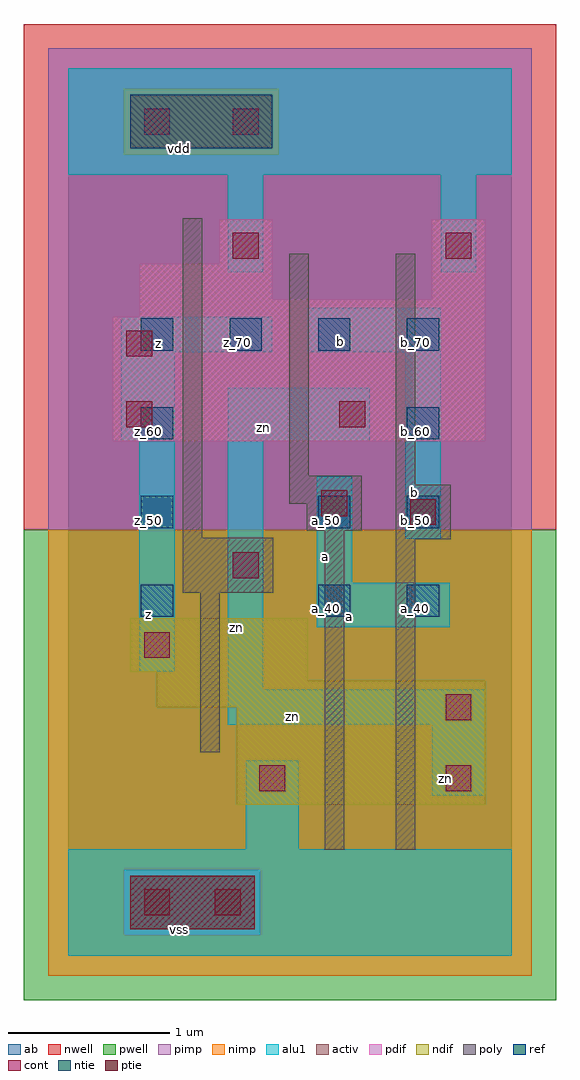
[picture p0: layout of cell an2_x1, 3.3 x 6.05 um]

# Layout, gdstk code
import gdstk
lib = gdstk.Library(unit=1e-6, precision=2.5e-09)
def R(c, l, rs):  # rectangles x0, y0, x1, y1
    for r in rs: c.add(gdstk.rectangle(r[:2], r[2:], *l))
def A(c, l, x, y, w, h, nx, ny, dx, dy):  # array of equal rectangles
    R(c, l, [(x+i*dx, y+j*dy, x+i*dx+w, y+j*dy+h) for i in range(nx) for j in range(ny)])
ndif = (3, 0)
pdif = (4, 0)
ntie = (5, 0)
ptie = (6, 0)
ref = (24, 0)
cont = (25, 0)
pwell = (41, 0)
nwell = (42, 0)
activ = (43, 0)
pimp = (44, 0)
nimp = (45, 0)
poly = (46, 0)
alu1 = (49, 0)
ab = (63, 0)

an2_x1 = lib.new_cell('an2_x1')
R(an2_x1, ndif, [(1.045,0.935,2.585,1.54), (0.55,1.54,2.585,1.705), (0.55,1.705,1.485,1.76), (0.385,1.76,1.485,2.09)])
R(an2_x1, pdif, [(0.275,3.19,2.585,3.96), (0.44,3.96,2.585,4.07), (0.44,4.07,1.265,4.29), (2.255,4.07,2.585,4.565), (0.935,4.29,1.265,4.565)])
R(an2_x1, ntie, [(0.385,5.005,1.265,5.335)])
R(an2_x1, ptie, [(0.385,0.165,1.155,0.495)])
A(an2_x1, ref, 0.45, 2.1, 0.2, 0.2, 1, 3, 0, 0.55)
A(an2_x1, ref, 2.1, 2.1, 0.2, 0.2, 1, 3, 0, 0.55)
A(an2_x1, ref, 0.45, 3.75, 0.2, 0.2, 4, 1, 0.55, 0)
R(an2_x1, ref, [(1.55,2.1,1.75,2.3), (1.55,2.65,1.75,2.85)])
R(an2_x1, cont, [(0.47,0.25,0.63,0.41), (0.91,0.25,1.07,0.41), (1.185,1.02,1.345,1.18), (2.34,1.02,2.5,1.18), (2.34,1.46,2.5,1.62), (0.47,1.845,0.63,2.005), (1.02,2.34,1.18,2.5), (2.12,2.67,2.28,2.83), (1.57,2.725,1.73,2.885), (0.36,3.275,0.52,3.435), (1.68,3.275,1.84,3.435), (0.36,3.715,0.52,3.875), (1.02,4.32,1.18,4.48), (2.34,4.32,2.5,4.48), (0.47,5.09,0.63,5.25), (1.02,5.09,1.18,5.25)])
R(an2_x1, pwell, [(-0.275,-0.275,3.025,2.64)])
R(an2_x1, nwell, [(-0.275,2.64,3.025,5.775)])
R(an2_x1, activ, [(0.385,0.165,1.155,0.495), (1.045,0.935,2.585,1.54), (0.55,1.54,2.585,1.705), (0.55,1.705,1.485,1.76), (0.385,1.76,1.485,2.09), (0.275,3.19,2.585,3.96), (0.44,3.96,2.585,4.07), (0.44,4.07,1.265,4.29), (2.255,4.07,2.585,4.565), (0.935,4.29,1.265,4.565), (0.385,5.005,1.265,5.335)])
R(an2_x1, pimp, [(0.345,0.125,1.195,0.535), (-0.125,2.64,2.875,4.965), (-0.125,4.965,0.345,5.375), (1.305,4.965,2.875,5.375), (-0.125,5.375,2.875,5.625)])
R(an2_x1, nimp, [(-0.125,-0.125,2.875,0.125), (-0.125,0.125,0.345,0.535), (1.195,0.125,2.875,0.535), (-0.125,0.535,2.875,2.64), (0.345,4.965,1.305,5.375)])
R(an2_x1, poly, [(1.59,0.655,1.71,2.635), (2.03,0.655,2.15,2.58), (0.82,1.26,0.94,2.25), (0.71,2.25,1.27,2.59), (2.03,2.58,2.37,2.92), (0.71,2.59,0.83,4.57), (1.48,2.635,1.82,2.8), (1.37,2.8,1.82,2.975), (2.03,2.92,2.15,4.35), (1.37,2.975,1.49,4.35)])
R(an2_x1, alu1, [(0,0,2.75,0.66), (1.1,0.66,1.43,1.21), (2.255,0.99,2.585,1.43), (0.99,1.43,2.585,1.65), (0.99,1.65,1.21,3.19), (0.44,1.76,0.66,3.19), (1.54,2.035,2.365,2.31), (1.54,2.31,1.76,2.97), (2.09,2.585,2.31,3.74), (0.33,3.19,0.66,3.74), (0.99,3.19,1.87,3.52), (0.33,3.74,1.265,3.96), (1.485,3.74,2.31,4.015), (0.99,4.235,1.21,4.84), (2.31,4.235,2.53,4.84), (0,4.84,2.75,5.5)])
R(an2_x1, ab, [(0,0,2.75,5.5)])
an2_x1.add(gdstk.Label('vss', (0.6875,0.165), layer=49, texttype=0))
an2_x1.add(gdstk.Label('zn', (2.3375,1.1), layer=49, texttype=0))
an2_x1.add(gdstk.Label('zn', (1.3875,1.485), layer=49, texttype=0))
an2_x1.add(gdstk.Label('a', (1.745,2.1025), layer=49, texttype=0))
an2_x1.add(gdstk.Label('b', (2.145,2.8725), layer=49, texttype=0))
an2_x1.add(gdstk.Label('a', (1.595,2.475), layer=49, texttype=0))
an2_x1.add(gdstk.Label('zn', (1.045,2.035), layer=49, texttype=0))
an2_x1.add(gdstk.Label('zn', (1.21,3.2725), layer=49, texttype=0))
an2_x1.add(gdstk.Label('z', (0.495,2.1175), layer=49, texttype=0))
an2_x1.add(gdstk.Label('b', (1.69,3.8075), layer=49, texttype=0))
an2_x1.add(gdstk.Label('z', (0.5625,3.795), layer=49, texttype=0))
an2_x1.add(gdstk.Label('vdd', (0.6875,5.005), layer=49, texttype=0))
an2_x1.add(gdstk.Label('a_50', (1.6,2.7), layer=24, texttype=0))
an2_x1.add(gdstk.Label('a_40', (1.6,2.15), layer=24, texttype=0))
an2_x1.add(gdstk.Label('z_70', (0.5,3.8), layer=24, texttype=0))
an2_x1.add(gdstk.Label('z_60', (0.5,3.25), layer=24, texttype=0))
an2_x1.add(gdstk.Label('z_50', (0.5,2.7), layer=24, texttype=0))
an2_x1.add(gdstk.Label('z_40', (0.5,2.15), layer=24, texttype=0))
an2_x1.add(gdstk.Label('b_60', (2.15,3.25), layer=24, texttype=0))
an2_x1.add(gdstk.Label('b_70', (2.15,3.8), layer=24, texttype=0))
an2_x1.add(gdstk.Label('b_70', (1.6,3.8), layer=24, texttype=0))
an2_x1.add(gdstk.Label('b_50', (2.15,2.7), layer=24, texttype=0))
an2_x1.add(gdstk.Label('z_70', (1.05,3.8), layer=24, texttype=0))
an2_x1.add(gdstk.Label('a_40', (2.15,2.15), layer=24, texttype=0))

lib.write_gds('an2_x1.gds')
